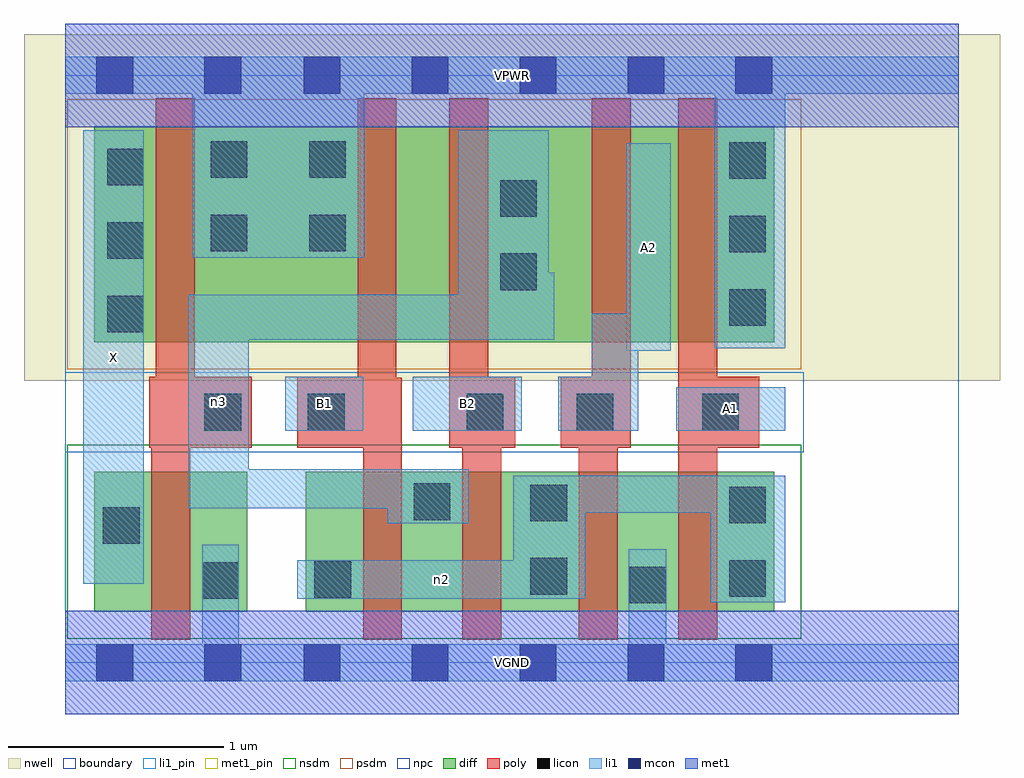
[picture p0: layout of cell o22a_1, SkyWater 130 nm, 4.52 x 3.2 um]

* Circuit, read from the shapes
.subckt o22a_1 A1 A2 B1 B2 VGND VPWR X n2 n3
XM1 VGND n3 X VSUBS sky130_fd_pr__nfet_01v8 w=0.65 l=0.18
XM2 n3 B1 n2 VSUBS sky130_fd_pr__nfet_01v8 w=0.65 l=0.18
XM3 n2 B2 n3 VSUBS sky130_fd_pr__nfet_01v8 w=0.65 l=0.18
XM4 VGND A2 n2 VSUBS sky130_fd_pr__nfet_01v8 w=0.65 l=0.18
XM5 n2 A1 VGND VSUBS sky130_fd_pr__nfet_01v8 w=0.65 l=0.18
XM6 VPWR n3 X n1 sky130_fd_pr__pfet_01v8 w=1 l=0.18
XM7 n4 B1 VPWR n1 sky130_fd_pr__pfet_01v8 w=1 l=0.18
XM8 n3 B2 n4 n1 sky130_fd_pr__pfet_01v8 w=1 l=0.18
XM9 n5 A2 n3 n1 sky130_fd_pr__pfet_01v8 w=1 l=0.18
XM10 VPWR A1 n5 n1 sky130_fd_pr__pfet_01v8 w=1 l=0.18
.ends

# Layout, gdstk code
import gdstk
lib = gdstk.Library(unit=1e-6, precision=1e-09)
def R(c, l, rs):  # rectangles x0, y0, x1, y1
    for r in rs: c.add(gdstk.rectangle(r[:2], r[2:], *l))
def A(c, l, x, y, w, h, nx, ny, dx, dy):  # array of equal rectangles
    R(c, l, [(x+i*dx, y+j*dy, x+i*dx+w, y+j*dy+h) for i in range(nx) for j in range(ny)])
nwell = (64, 20)
diff = (65, 20)
poly = (66, 20)
licon = (66, 44)
li1_pin = (67, 16)
li1 = (67, 20)
mcon = (67, 44)
met1_pin = (68, 16)
met1 = (68, 20)
nsdm = (93, 44)
psdm = (94, 20)
npc = (95, 20)
boundary = (235, 4)

o22a_1 = lib.new_cell('o22a_1')
R(o22a_1, nwell, [(-0.19,1.305,4.33,2.91), (0,1.305,4.14,2.91)])
R(o22a_1, diff, [(0.135,0.235,0.845,0.885), (1.115,0.235,3.285,0.885), (0.135,1.485,3.285,2.485)])
R(o22a_1, poly, [(0.4,0.105,0.58,1.325), (1.38,0.105,1.56,1.32), (1.84,0.105,2.02,1.325), (2.38,0.105,2.56,1.325), (2.84,0.105,3.02,2.615), (0.39,0.995,0.865,1.325), (0.42,0.995,0.6,2.615), (1.075,0.995,1.535,1.325), (1.355,0.995,1.535,2.615), (1.78,0.995,1.96,2.615), (1.78,0.995,2.085,1.325), (2.295,0.995,2.62,1.325), (2.44,0.995,2.62,2.615), (2.84,0.995,3.215,1.325)])
A(o22a_1, licon, 0.195, 1.53, 0.17, 0.17, 1, 3, 0, 0.34)
A(o22a_1, licon, 3.075, 1.56, 0.17, 0.17, 1, 3, 0, 0.34)
R(o22a_1, licon, [(2.615,0.275,2.785,0.445), (0.635,0.295,0.805,0.465), (1.155,0.3,1.325,0.47), (3.075,0.305,3.245,0.475), (2.155,0.315,2.325,0.485), (0.175,0.55,0.345,0.72), (3.075,0.645,3.245,0.815), (2.155,0.655,2.325,0.825), (1.615,0.66,1.785,0.83), (0.645,1.075,0.815,1.245), (1.125,1.075,1.295,1.245), (1.86,1.075,2.03,1.245), (2.37,1.075,2.54,1.245), (2.95,1.075,3.12,1.245), (2.015,1.725,2.185,1.895), (0.675,1.905,0.845,2.075), (1.13,1.905,1.3,2.075), (2.015,2.065,2.185,2.235), (0.675,2.245,0.845,2.415), (1.13,2.245,1.3,2.415)])
R(o22a_1, li1_pin, [(0.085,0.365,0.365,2.465), (1.02,1.075,1.38,1.325), (1.61,1.075,2.115,1.325), (2.83,1.075,3.335,1.275), (2.6,1.445,2.805,2.405)])
R(o22a_1, li1, [(0,-0.085,4.14,0.085), (0.635,-0.085,0.805,0.545), (2.61,-0.085,2.785,0.525), (2.99,0.28,3.335,0.865), (1.075,0.295,2.41,0.475), (2.075,0.295,2.41,0.865), (0.085,0.365,0.365,2.465), (1.495,0.645,1.87,0.895), (2.075,0.695,3.335,0.865), (0.57,0.715,0.85,1.705), (0.57,0.715,1.87,0.895), (1.02,1.075,1.38,1.325), (1.61,1.075,2.115,1.325), (2.285,1.075,2.655,1.325), (2.44,1.075,2.655,1.615), (2.83,1.075,3.335,1.275), (2.6,1.445,2.805,2.405), (3.01,1.455,3.335,2.805), (0.57,1.495,2.265,1.705), (1.82,1.495,2.24,2.465), (1.82,1.495,2.265,1.805), (0.59,1.875,1.385,2.805), (0,2.635,4.14,2.805)])
A(o22a_1, mcon, 1.105, -0.085, 0.17, 0.17, 5, 2, 0.5, 2.72)
R(o22a_1, mcon, [(0.145,-0.085,0.315,0.085), (0.645,-0.085,0.815,0.085), (0.145,2.635,0.315,2.805), (0.645,2.635,0.815,2.805)])
R(o22a_1, met1_pin, [(0,-0.24,4.14,0.24), (0,2.48,4.14,2.96)])
R(o22a_1, met1, [(0,-0.24,4.14,0.24), (0,2.48,4.14,2.96)])
R(o22a_1, nsdm, [(0.01,0.11,3.41,1.01)])
R(o22a_1, psdm, [(0.01,1.36,3.41,2.61)])
R(o22a_1, npc, [(0,0.975,3.42,1.345)])
R(o22a_1, boundary, [(0,0,4.14,2.72)])
o22a_1.add(gdstk.Label('A1', (3.082,1.175), layer=67, texttype=5))
o22a_1.add(gdstk.Label('A2', (2.702,1.925), layer=67, texttype=5))
o22a_1.add(gdstk.Label('B1', (1.2,1.2), layer=67, texttype=5))
o22a_1.add(gdstk.Label('B2', (1.862,1.2), layer=67, texttype=5))
o22a_1.add(gdstk.Label('X', (0.225,1.415), layer=67, texttype=5))
o22a_1.add(gdstk.Label('n2', (1.742,0.385), layer=67, texttype=5))
o22a_1.add(gdstk.Label('n3', (0.71,1.21), layer=67, texttype=5))
o22a_1.add(gdstk.Label('VPWR', (2.07,2.72), layer=68, texttype=5))
o22a_1.add(gdstk.Label('VGND', (2.07,0), layer=68, texttype=5))
o22a_1.add(gdstk.Label('A1', (3.082,1.175), layer=67, texttype=16))
o22a_1.add(gdstk.Label('A2', (2.702,1.925), layer=67, texttype=16))
o22a_1.add(gdstk.Label('B1', (1.2,1.2), layer=67, texttype=16))
o22a_1.add(gdstk.Label('B2', (1.862,1.2), layer=67, texttype=16))
o22a_1.add(gdstk.Label('X', (0.225,1.415), layer=67, texttype=16))
o22a_1.add(gdstk.Label('VPWR', (2.07,2.72), layer=68, texttype=16))
o22a_1.add(gdstk.Label('VGND', (2.07,0), layer=68, texttype=16))

lib.write_gds('o22a_1.gds')
